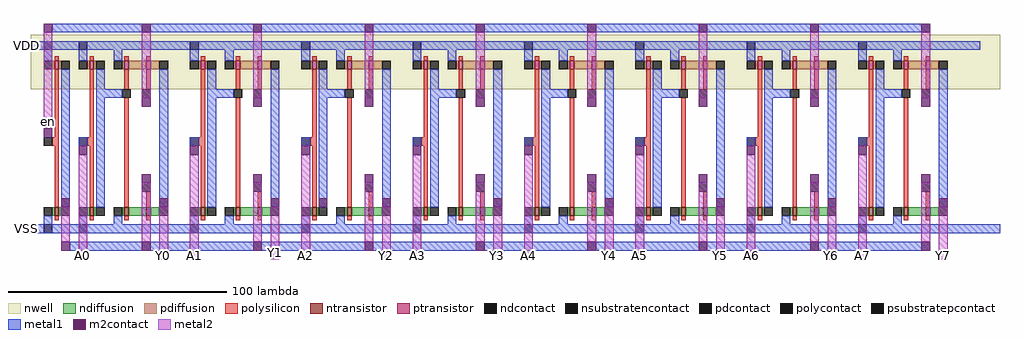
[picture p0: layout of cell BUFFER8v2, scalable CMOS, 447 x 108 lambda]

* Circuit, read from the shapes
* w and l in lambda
.subckt BUFFER8v2 A0 A1 A2 A3 A4 A5 A6 A7 VDD VSS Y0 Y1 Y2 Y3 Y4 Y5 Y6 Y7 en
M1 INV_0/Y en VSS VSS nfet w=4 l=2
M2 BUFFER2_0/INV_0/Y A0 VSS VSS nfet w=4 l=2
M3 n1 BUFFER2_0/INV_0/Y VSS VSS nfet w=4 l=2
M4 Y0 INV_0/Y n1 VSS nfet w=4 l=2
M5 BUFFER2_1/INV_0/Y A1 VSS VSS nfet w=4 l=2
M6 n2 BUFFER2_1/INV_0/Y VSS VSS nfet w=4 l=2
M7 Y1 INV_0/Y n2 VSS nfet w=4 l=2
M8 BUFFER2_2/INV_0/Y A2 VSS VSS nfet w=4 l=2
M9 n3 BUFFER2_2/INV_0/Y VSS VSS nfet w=4 l=2
M10 Y2 INV_0/Y n3 VSS nfet w=4 l=2
M11 BUFFER2_3/INV_0/Y A3 VSS VSS nfet w=4 l=2
M12 n4 BUFFER2_3/INV_0/Y VSS VSS nfet w=4 l=2
M13 Y3 INV_0/Y n4 VSS nfet w=4 l=2
M14 BUFFER2_4/INV_0/Y A4 VSS VSS nfet w=4 l=2
M15 n5 BUFFER2_4/INV_0/Y VSS VSS nfet w=4 l=2
M16 Y4 INV_0/Y n5 VSS nfet w=4 l=2
M17 BUFFER2_5/INV_0/Y A5 VSS VSS nfet w=4 l=2
M18 n6 BUFFER2_5/INV_0/Y VSS VSS nfet w=4 l=2
M19 Y5 INV_0/Y n6 VSS nfet w=4 l=2
M20 BUFFER2_6/INV_0/Y A6 VSS VSS nfet w=4 l=2
M21 n7 BUFFER2_6/INV_0/Y VSS VSS nfet w=4 l=2
M22 Y6 INV_0/Y n7 VSS nfet w=4 l=2
M23 BUFFER2_7/INV_0/Y A7 VSS VSS nfet w=4 l=2
M24 n8 BUFFER2_7/INV_0/Y VSS VSS nfet w=4 l=2
M25 Y7 INV_0/Y n8 VSS nfet w=4 l=2
M26 INV_0/Y en VDD VDD pfet w=4 l=2
M27 BUFFER2_0/INV_0/Y A0 VDD VDD pfet w=4 l=2
M28 n9 BUFFER2_0/INV_0/Y VDD VDD pfet w=4 l=2
M29 Y0 en n9 VDD pfet w=4 l=2
M30 BUFFER2_1/INV_0/Y A1 VDD VDD pfet w=4 l=2
M31 n10 BUFFER2_1/INV_0/Y VDD VDD pfet w=4 l=2
M32 Y1 en n10 VDD pfet w=4 l=2
M33 BUFFER2_2/INV_0/Y A2 VDD VDD pfet w=4 l=2
M34 n11 BUFFER2_2/INV_0/Y VDD VDD pfet w=4 l=2
M35 Y2 en n11 VDD pfet w=4 l=2
M36 BUFFER2_3/INV_0/Y A3 VDD VDD pfet w=4 l=2
M37 n12 BUFFER2_3/INV_0/Y VDD VDD pfet w=4 l=2
M38 Y3 en n12 VDD pfet w=4 l=2
M39 BUFFER2_4/INV_0/Y A4 VDD VDD pfet w=4 l=2
M40 n13 BUFFER2_4/INV_0/Y VDD VDD pfet w=4 l=2
M41 Y4 en n13 VDD pfet w=4 l=2
M42 BUFFER2_5/INV_0/Y A5 VDD VDD pfet w=4 l=2
M43 n14 BUFFER2_5/INV_0/Y VDD VDD pfet w=4 l=2
M44 Y5 en n14 VDD pfet w=4 l=2
M45 BUFFER2_6/INV_0/Y A6 VDD VDD pfet w=4 l=2
M46 n15 BUFFER2_6/INV_0/Y VDD VDD pfet w=4 l=2
M47 Y6 en n15 VDD pfet w=4 l=2
M48 BUFFER2_7/INV_0/Y A7 VDD VDD pfet w=4 l=2
M49 n16 BUFFER2_7/INV_0/Y VDD VDD pfet w=4 l=2
M50 Y7 en n16 VDD pfet w=4 l=2
.ends

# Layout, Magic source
magic
tech scmos
<< metal1 >>
rect 10 100 412 104
rect -3 92 396 96
rect 59 40 63 51
rect -3 8 396 12
rect 18 0 412 4
<< m2contact >>
rect 6 100 10 104
rect 6 52 10 56
rect 22 44 26 48
rect 73 44 77 48
rect 124 44 128 48
rect 175 44 179 48
rect 226 44 230 48
rect 277 44 281 48
rect 328 44 332 48
rect 379 44 383 48
rect 14 20 18 24
rect 59 20 63 24
rect 110 20 114 24
rect 132 20 136 24
rect 161 20 165 24
rect 212 20 216 24
rect 263 20 267 24
rect 314 20 318 24
rect 365 20 369 24
rect 416 20 420 24
rect 14 0 18 4
<< metal2 >>
rect 6 56 10 100
rect 14 4 18 20
rect 22 -4 26 44
rect 59 -4 63 20
rect 73 -4 77 44
rect 110 -4 114 20
rect 124 -4 128 44
rect 161 -4 165 20
rect 175 -4 179 44
rect 212 -4 216 20
rect 226 -4 230 44
rect 263 -4 267 20
rect 277 -4 281 44
rect 314 -4 318 20
rect 328 -4 332 44
rect 365 -4 369 20
rect 379 -4 383 44
rect 416 -4 420 20
use BUFFER2  BUFFER2_0
transform 1 0 16 0 1 8
box 0 -8 71 96
use BUFFER2  BUFFER2_1
transform 1 0 67 0 1 8
box 0 -8 71 96
use BUFFER2  BUFFER2_2
transform 1 0 118 0 1 8
box 0 -8 71 96
use BUFFER2  BUFFER2_3
transform 1 0 169 0 1 8
box 0 -8 71 96
use BUFFER2  BUFFER2_4
transform 1 0 220 0 1 8
box 0 -8 71 96
use BUFFER2  BUFFER2_5
transform 1 0 271 0 1 8
box 0 -8 71 96
use BUFFER2  BUFFER2_6
transform 1 0 322 0 1 8
box 0 -8 71 96
use BUFFER2  BUFFER2_7
transform 1 0 373 0 1 8
box 0 -8 71 96
use INV  INV_0
transform 1 0 4 0 1 8
box -4 0 20 91
<< labels >>
rlabel metal2 8 59 8 59 1 en
rlabel metal2 24 -2 24 -2 1 A0
rlabel metal2 61 -2 61 -2 1 Y0
rlabel metal2 75 -2 75 -2 1 A1
rlabel metal2 112 -1 112 -1 1 Y1
rlabel metal2 126 -2 126 -2 1 A2
rlabel metal2 163 -2 163 -2 1 Y2
rlabel metal2 177 -2 177 -2 1 A3
rlabel metal2 214 -2 214 -2 1 Y3
rlabel metal2 228 -2 228 -2 1 A4
rlabel metal2 265 -2 265 -2 1 Y4
rlabel metal2 279 -2 279 -2 1 A5
rlabel metal2 316 -2 316 -2 1 Y5
rlabel metal2 330 -2 330 -2 1 A6
rlabel metal2 367 -2 367 -2 1 Y6
rlabel metal2 418 -2 418 -2 1 Y7
rlabel metal2 381 -2 381 -2 1 A7
rlabel metal1 -2 94 -2 94 3 VDD
rlabel metal1 -2 10 -2 10 3 VSS
<< end >>

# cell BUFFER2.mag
magic
tech scmos
<< nwell >>
rect 23 88 71 91
rect 10 84 14 88
rect 20 84 71 88
rect 23 79 71 84
rect 22 75 71 79
rect 23 66 71 75
<< ntransistor >>
rect 27 8 29 12
rect 37 8 39 12
<< ptransistor >>
rect 27 75 29 79
rect 37 75 39 79
<< ndiffusion >>
rect 26 8 27 12
rect 29 8 37 12
rect 39 8 43 12
<< pdiffusion >>
rect 26 75 27 79
rect 29 75 37 79
rect 39 75 43 79
<< ndcontact >>
rect 22 8 26 12
rect 43 8 47 12
<< pdcontact >>
rect 22 75 26 79
rect 43 75 47 79
<< polysilicon >>
rect 27 79 29 81
rect 37 79 39 81
rect 27 66 29 75
rect 37 66 39 75
rect 27 12 29 62
rect 37 12 39 19
rect 27 6 29 8
rect 37 6 39 8
<< polycontact >>
rect 26 62 30 66
rect 35 62 39 66
rect 35 19 39 23
<< metal1 >>
rect 4 92 35 96
rect 10 84 14 88
rect 20 84 62 88
rect 22 79 26 84
rect 18 62 26 66
rect 6 40 10 44
rect 43 12 47 75
rect 22 4 26 8
rect 10 0 14 4
rect 20 0 71 4
rect 4 -8 35 -4
<< m2contact >>
rect 35 92 39 96
rect 35 58 39 62
rect 35 23 39 27
rect 35 -8 39 -4
<< metal2 >>
rect 35 62 39 92
rect 35 -4 39 23
use INV  INV_0
transform 1 0 4 0 1 0
box -4 0 20 91
<< labels >>
rlabel metal1 45 41 45 41 1 Y
rlabel metal1 8 41 8 41 1 A
rlabel metal1 11 2 11 2 2 VSS
rlabel metal1 12 86 12 86 4 VDD
rlabel metal1 6 -6 6 -6 1 enb
rlabel metal1 6 94 6 94 5 en
<< end >>

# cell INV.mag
magic
tech scmos
<< nwell >>
rect -4 66 20 91
<< ntransistor >>
rect 7 8 9 12
<< ptransistor >>
rect 7 75 9 79
<< ndiffusion >>
rect 6 8 7 12
rect 9 8 10 12
<< pdiffusion >>
rect 6 75 7 79
rect 9 75 10 79
<< ndcontact >>
rect 2 8 6 12
rect 10 8 14 12
<< pdcontact >>
rect 2 75 6 79
rect 10 75 14 79
<< psubstratepcontact >>
rect 2 0 6 4
<< nsubstratencontact >>
rect 2 84 6 88
<< polysilicon >>
rect 7 79 9 81
rect 7 44 9 75
rect 6 40 9 44
rect 7 12 9 40
rect 7 6 9 8
<< polycontact >>
rect 2 40 6 44
<< metal1 >>
rect 0 84 2 88
rect 6 84 16 88
rect 2 79 6 84
rect 10 12 14 75
rect 2 4 6 8
rect 0 0 2 4
rect 6 0 16 4
<< labels >>
rlabel metal1 1 2 1 2 2 VSS
rlabel metal1 12 17 12 17 1 Y
rlabel metal1 1 86 1 86 4 VDD
rlabel polycontact 4 42 4 42 1 A
<< end >>
